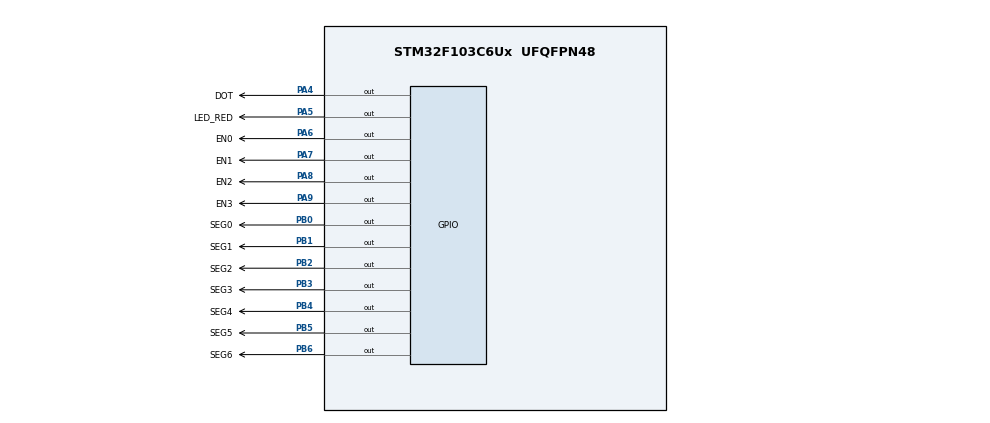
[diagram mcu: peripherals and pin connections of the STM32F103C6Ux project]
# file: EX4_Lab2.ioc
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Mcu.Family=STM32F1
Mcu.Name=STM32F103C6Ux
Mcu.Package=UFQFPN48
NVIC.PriorityGroup=NVIC_PRIORITYGROUP_4
NVIC.TIM2_IRQn=true\:0\:0\:false\:false\:true\:true\:true
PA4.GPIO_Label=DOT
PA4.Signal=GPIO_Output
PA5.GPIO_Label=LED_RED
PA5.Signal=GPIO_Output
PA6.GPIO_Label=EN0
PA6.Signal=GPIO_Output
PA7.GPIO_Label=EN1
PA7.Signal=GPIO_Output
PA8.GPIO_Label=EN2
PA8.Signal=GPIO_Output
PA9.GPIO_Label=EN3
PA9.Signal=GPIO_Output
PB0.GPIO_Label=SEG0
PB0.Signal=GPIO_Output
PB1.GPIO_Label=SEG1
PB1.Signal=GPIO_Output
PB2.GPIO_Label=SEG2
PB2.Signal=GPIO_Output
PB3.GPIO_Label=SEG3
PB3.Signal=GPIO_Output
PB4.GPIO_Label=SEG4
PB4.Signal=GPIO_Output
PB5.GPIO_Label=SEG5
PB5.Signal=GPIO_Output
PB6.GPIO_Label=SEG6
PB6.Signal=GPIO_Output
ProjectManager.HeapSize=0x200
ProjectManager.StackSize=0x400
ProjectManager.TargetToolchain=STM32CubeIDE
RCC.APB1Freq_Value=8000000
RCC.APB2Freq_Value=8000000
TIM2.Period=9
TIM2.Prescaler=7999
VP_SYS_VS_ND.Mode=No_Debug
VP_TIM2_VS_ClockSourceINT.Mode=Internal
board=custom

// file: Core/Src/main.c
/* USER CODE BEGIN Header */
/**
  ******************************************************************************
  * @file           : main.c
  * @brief          : Main program body
  ******************************************************************************
  * @attention
  *
  * <h2><center>&copy; Copyright (c) 2025 STMicroelectronics.
  * All rights reserved.</center></h2>
  *
  * This software component is licensed by ST under BSD 3-Clause license,
  * the "License"; You may not use this file except in compliance with the
  * License. You may obtain a copy of the License at:
  *                        opensource.org/licenses/BSD-3-Clause
  *
  ******************************************************************************
  */
/* USER CODE END Header */
#include "main.h"

TIM_HandleTypeDef htim2;

void SystemClock_Config(void);
static void MX_GPIO_Init(void);
static void MX_TIM2_Init(void);

int main(void)
{

  /* MCU Configuration--------------------------------------------------------*/

  /* Reset of all peripherals, Initializes the Flash interface and the Systick. */
  HAL_Init();

  /* Configure the system clock */
  SystemClock_Config();

  /* Initialize all configured peripherals */
  MX_GPIO_Init();
  MX_TIM2_Init();
  /* USER CODE BEGIN 2 */
  HAL_TIM_Base_Start_IT(&htim2);
  /* USER CODE END 2 */

  /* Infinite loop */
  while (1)
  {

  }
}

void SystemClock_Config(void)
{
  RCC_OscInitTypeDef RCC_OscInitStruct = {0};
  RCC_ClkInitTypeDef RCC_ClkInitStruct = {0};

  /** Initializes the RCC Oscillators according to the specified parameters
  * in the RCC_OscInitTypeDef structure.
  */
  RCC_OscInitStruct.OscillatorType = RCC_OSCILLATORTYPE_HSI;
  RCC_OscInitStruct.HSIState = RCC_HSI_ON;
  RCC_OscInitStruct.HSICalibrationValue = RCC_HSICALIBRATION_DEFAULT;
  RCC_OscInitStruct.PLL.PLLState = RCC_PLL_NONE;
  if (HAL_RCC_OscConfig(&RCC_OscInitStruct) != HAL_OK)
  {
    Error_Handler();
  }
  /** Initializes the CPU, AHB and APB buses clocks
  */
  RCC_ClkInitStruct.ClockType = RCC_CLOCKTYPE_HCLK|RCC_CLOCKTYPE_SYSCLK
                              |RCC_CLOCKTYPE_PCLK1|RCC_CLOCKTYPE_PCLK2;
  RCC_ClkInitStruct.SYSCLKSource = RCC_SYSCLKSOURCE_HSI;
  RCC_ClkInitStruct.AHBCLKDivider = RCC_SYSCLK_DIV1;
  RCC_ClkInitStruct.APB1CLKDivider = RCC_HCLK_DIV1;
  RCC_ClkInitStruct.APB2CLKDivider = RCC_HCLK_DIV1;

  if (HAL_RCC_ClockConfig(&RCC_ClkInitStruct, FLASH_LATENCY_0) != HAL_OK)
  {
    Error_Handler();
  }
}

static void MX_TIM2_Init(void)
{

  TIM_ClockConfigTypeDef sClockSourceConfig = {0};
  TIM_MasterConfigTypeDef sMasterConfig = {0};

  htim2.Instance = TIM2;
  htim2.Init.Prescaler = 7999;
  htim2.Init.CounterMode = TIM_COUNTERMODE_UP;
  htim2.Init.Period = 9;
  htim2.Init.ClockDivision = TIM_CLOCKDIVISION_DIV1;
  htim2.Init.AutoReloadPreload = TIM_AUTORELOAD_PRELOAD_DISABLE;
  if (HAL_TIM_Base_Init(&htim2) != HAL_OK)
  {
    Error_Handler();
  }
  sClockSourceConfig.ClockSource = TIM_CLOCKSOURCE_INTERNAL;
  if (HAL_TIM_ConfigClockSource(&htim2, &sClockSourceConfig) != HAL_OK)
  {
    Error_Handler();
  }
  sMasterConfig.MasterOutputTrigger = TIM_TRGO_RESET;
  sMasterConfig.MasterSlaveMode = TIM_MASTERSLAVEMODE_DISABLE;
  if (HAL_TIMEx_MasterConfigSynchronization(&htim2, &sMasterConfig) != HAL_OK)
  {
    Error_Handler();
  }

}

static void MX_GPIO_Init(void)
{
  GPIO_InitTypeDef GPIO_InitStruct = {0};

  /* GPIO Ports Clock Enable */
  __HAL_RCC_GPIOA_CLK_ENABLE();
  __HAL_RCC_GPIOB_CLK_ENABLE();

  /*Configure GPIO pin Output Level */
  HAL_GPIO_WritePin(GPIOA, DOT_Pin|LED_RED_Pin|EN0_Pin|EN1_Pin
                          |EN2_Pin|EN3_Pin, GPIO_PIN_RESET);

  /*Configure GPIO pin Output Level */
  HAL_GPIO_WritePin(GPIOB, SEG0_Pin|SEG1_Pin|SEG2_Pin|SEG3_Pin
                          |SEG4_Pin|SEG5_Pin|SEG6_Pin, GPIO_PIN_RESET);

  /*Configure GPIO pins : DOT_Pin LED_RED_Pin EN0_Pin EN1_Pin
                           EN2_Pin EN3_Pin */
  GPIO_InitStruct.Pin = DOT_Pin|LED_RED_Pin|EN0_Pin|EN1_Pin
                          |EN2_Pin|EN3_Pin;
  GPIO_InitStruct.Mode = GPIO_MODE_OUTPUT_PP;
  GPIO_InitStruct.Pull = GPIO_NOPULL;
  GPIO_InitStruct.Speed = GPIO_SPEED_FREQ_LOW;
  HAL_GPIO_Init(GPIOA, &GPIO_InitStruct);

  /*Configure GPIO pins : SEG0_Pin SEG1_Pin SEG2_Pin SEG3_Pin
                           SEG4_Pin SEG5_Pin SEG6_Pin */
  GPIO_InitStruct.Pin = SEG0_Pin|SEG1_Pin|SEG2_Pin|SEG3_Pin
                          |SEG4_Pin|SEG5_Pin|SEG6_Pin;
  GPIO_InitStruct.Mode = GPIO_MODE_OUTPUT_PP;
  GPIO_InitStruct.Pull = GPIO_NOPULL;
  GPIO_InitStruct.Speed = GPIO_SPEED_FREQ_LOW;
  HAL_GPIO_Init(GPIOB, &GPIO_InitStruct);

}

/* USER CODE BEGIN 4 */
const int MAX_LED = 4;
int index_led = 0;
int led_buffer[4] = {1, 2, 3, 4};
int pinControll7SEG[4] = {EN0_Pin, EN1_Pin, EN2_Pin, EN3_Pin};

void clearLed() {
    HAL_GPIO_WritePin(GPIOA, EN0_Pin | EN1_Pin | EN2_Pin | EN3_Pin, SET);
}

void clearEnable () {
	HAL_GPIO_WritePin ( EN0_GPIO_Port , EN0_Pin , 1);
	HAL_GPIO_WritePin ( EN1_GPIO_Port , EN1_Pin , 1);
	HAL_GPIO_WritePin ( EN2_GPIO_Port , EN2_Pin , 1);
	HAL_GPIO_WritePin ( EN3_GPIO_Port , EN3_Pin , 1);
}

void display7SEG(int num) {
    static const uint8_t seven_seg_code[10] = {
        0b1000000, //0
        0b1111001, //1
        0b0100100, //2
        0b0110000, //3
        0b0011001, //4
        0b0010010, //5
        0b0000010, //6
        0b1111000, //7
        0b0000000, //8
        0b0010000  //9
    };

    uint8_t code = seven_seg_code[num];
    HAL_GPIO_WritePin(GPIOB, GPIO_PIN_6, (code & 0b1000000) ? GPIO_PIN_SET : GPIO_PIN_RESET); // a
    HAL_GPIO_WritePin(GPIOB, GPIO_PIN_5, (code & 0b0100000) ? GPIO_PIN_SET : GPIO_PIN_RESET); // b
    HAL_GPIO_WritePin(GPIOB, GPIO_PIN_4, (code & 0b0010000) ? GPIO_PIN_SET : GPIO_PIN_RESET); // c
    HAL_GPIO_WritePin(GPIOB, GPIO_PIN_3, (code & 0b0001000) ? GPIO_PIN_SET : GPIO_PIN_RESET); // d
    HAL_GPIO_WritePin(GPIOB, GPIO_PIN_2, (code & 0b0000100) ? GPIO_PIN_SET : GPIO_PIN_RESET); // e
    HAL_GPIO_WritePin(GPIOB, GPIO_PIN_1, (code & 0b0000010) ? GPIO_PIN_SET : GPIO_PIN_RESET); // f
    HAL_GPIO_WritePin(GPIOB, GPIO_PIN_0, (code & 0b0000001) ? GPIO_PIN_SET : GPIO_PIN_RESET); // g
}

void enablePin(int index) {
    HAL_GPIO_WritePin(GPIOA, pinControll7SEG[index], RESET);
}

void update7SEG(int index) {
    clearLed();
    clearEnable ();
    switch (index) {
    case 0:
        display7SEG(led_buffer[0]);
        enablePin(0);
        break;
    case 1:
        display7SEG(led_buffer[1]);
        enablePin(1);
        break;
    case 2:
        display7SEG(led_buffer[2]);
        enablePin(2);
        break;
    case 3:
        display7SEG(led_buffer[3]);
        enablePin(3);
        break;
    default:
        break;
    }
}

int counter = 100;
void HAL_TIM_PeriodElapsedCallback(TIM_HandleTypeDef *htim)
{
	if(counter > 0) {
		counter--;
		// SWITCH 4 LED7SEG 250ms
		if(counter % 25 == 0) {
			update7SEG(index_led++);
			if(index_led >= 4) index_led = 0;
		}
		//LED RED & DOT BLINK 1s
		if(counter == 0) {
			HAL_GPIO_TogglePin(LED_RED_GPIO_Port, LED_RED_Pin);
			HAL_GPIO_TogglePin(DOT_GPIO_Port, DOT_Pin);
			counter = 100;
		}
	}
}
/* USER CODE END 4 */

void Error_Handler(void)
{
  __disable_irq();
  while (1)
  {
  }
}

/************************ (C) COPYRIGHT STMicroelectronics *****END OF FILE****/
